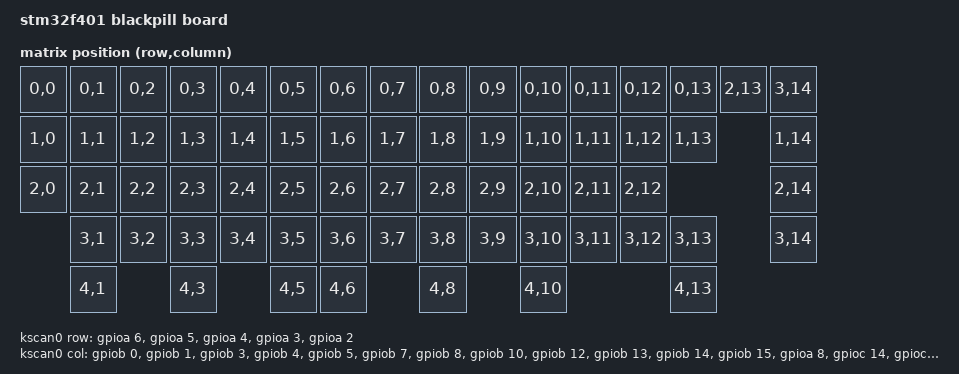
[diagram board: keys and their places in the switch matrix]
/*
 * Copyright (c) 2017 Linaro Limited
 *
 * SPDX-License-Identifier: Apache-2.0
 */

#include <dt-bindings/zmk/matrix-transform.h>


/dts-v1/;
#include <st/f4/stm32f401Xc.dtsi>


/ {
	model = "stm32f401 blackpill board";
	compatible = "st,stm32f401_blackpill", "st,stm32f401";

	chosen {
		zephyr,code-partition = &code_partition;
		zephyr,console = &usart2;
		//zephyr,shell-uart = &usart2;
		zephyr,sram = &sram0;
		zephyr,flash = &flash0;
		//zephyr,ccm = &ccm0;
		//zephyr,can-primary = &can2;

		zmk,kscan = &kscan0;
        zmk,matrix_transform = &default_transform;
	};

	// Keyboard matrix setup here:
	default_transform: keymap_transform_0 {
        compatible = "zmk,matrix-transform";
        columns = <15>;
        rows = <5>;
        map = <

		/*Testing for Sesame PCB rev. 1 */
		
	RC(0,0) RC(0,1) RC(0,2) RC(0,3) RC(0,4) RC(0,5) RC(0,6) RC(0,7) RC(0,8) RC(0,9) RC(0,10) RC(0,11) RC(0,12) RC(0,13) RC(2,13) RC(3,14) 
	RC(1,0) RC(1,1) RC(1,2) RC(1,3) RC(1,4) RC(1,5) RC(1,6) RC(1,7) RC(1,8) RC(1,9) RC(1,10) RC(1,11) RC(1,12) RC(1,13) 		 RC(1,14)
	RC(2,0) RC(2,1) RC(2,2) RC(2,3) RC(2,4) RC(2,5) RC(2,6) RC(2,7) RC(2,8) RC(2,9) RC(2,10) RC(2,11) RC(2,12) 		 			 RC(2,14)
			RC(3,1) RC(3,2) RC(3,3) RC(3,4) RC(3,5) RC(3,6) RC(3,7) RC(3,8) RC(3,9) RC(3,10) RC(3,11) RC(3,12) RC(3,13) 		 RC(3,14)
			RC(4,1) 		RC(4,3)			RC(4,5)	RC(4,6)			RC(4,8) 		RC(4,10)				   RC(4,13) 
		
		

        >;
    };

		// Col and row setup here: 
	kscan0: kscan_0 {
    compatible = "zmk,kscan-gpio-matrix";
    label = "KSCAN";
    diode-direction = "col2row";

    	col-gpios
            = <&gpiob 0 GPIO_ACTIVE_HIGH>	//B0
            , <&gpiob 1 GPIO_ACTIVE_HIGH>	//B1
			, <&gpiob 3 GPIO_ACTIVE_HIGH>	//B3
			, <&gpiob 4 GPIO_ACTIVE_HIGH>	//B4
			, <&gpiob 5 GPIO_ACTIVE_HIGH>	//B5
			, <&gpiob 7 GPIO_ACTIVE_HIGH>	//B7
			, <&gpiob 8 GPIO_ACTIVE_HIGH>	//B8
			, <&gpiob 10 GPIO_ACTIVE_HIGH>	//B10
			, <&gpiob 12 GPIO_ACTIVE_HIGH>	//B12
			, <&gpiob 13 GPIO_ACTIVE_HIGH>	//B13
			, <&gpiob 14 GPIO_ACTIVE_HIGH>	//B14
			, <&gpiob 15 GPIO_ACTIVE_HIGH>	//B15
			, <&gpioa 8 GPIO_ACTIVE_HIGH>	//A8
			, <&gpioc 14 GPIO_ACTIVE_HIGH>	//C14
			, <&gpioc 15 GPIO_ACTIVE_HIGH>	//C15
			
            ;

        row-gpios
            = <&gpioa 6 (GPIO_ACTIVE_HIGH | GPIO_PULL_DOWN)>	//A6
            , <&gpioa 5 (GPIO_ACTIVE_HIGH | GPIO_PULL_DOWN)>	//A5
			, <&gpioa 4 (GPIO_ACTIVE_HIGH | GPIO_PULL_DOWN)>	//A4
			, <&gpioa 3 (GPIO_ACTIVE_HIGH | GPIO_PULL_DOWN)>	//A3
			, <&gpioa 2 (GPIO_ACTIVE_HIGH | GPIO_PULL_DOWN)>	//A2

            ;
    };

	leds {
		compatible = "gpio-leds";
		blue_led_1: led_1 {
			gpios = <&gpioc 13 GPIO_ACTIVE_HIGH>;	//C13
			label = "User LED";
		};
	};

	aliases {
		led0 = &blue_led_1;
	};
};

&rtc {
	status = "okay";
};

&usbotg_fs {
	status = "okay";
};

&usart2 {
	current-speed = <11500>;
	status = "okay";
};

&flash0 {
	partitions {
		compatible = "fixed-partitions";
		#address-cells = <1>;
		#size-cells = <1>;

		boot_partition: partition@0 {
			label = "tinyuf2_boot";
			reg = <0x00000000 0x00008000>;
			//readonly;
		};
		
		storage_partition: partition@8000 {
			label = "storage";
			reg = <0x00008000 0x00008000>;
		};
		
		code_partition: partition@10000 {
			label = "code_partition";
			reg = <0x00010000 0x00030000>;
		};
	};
};
